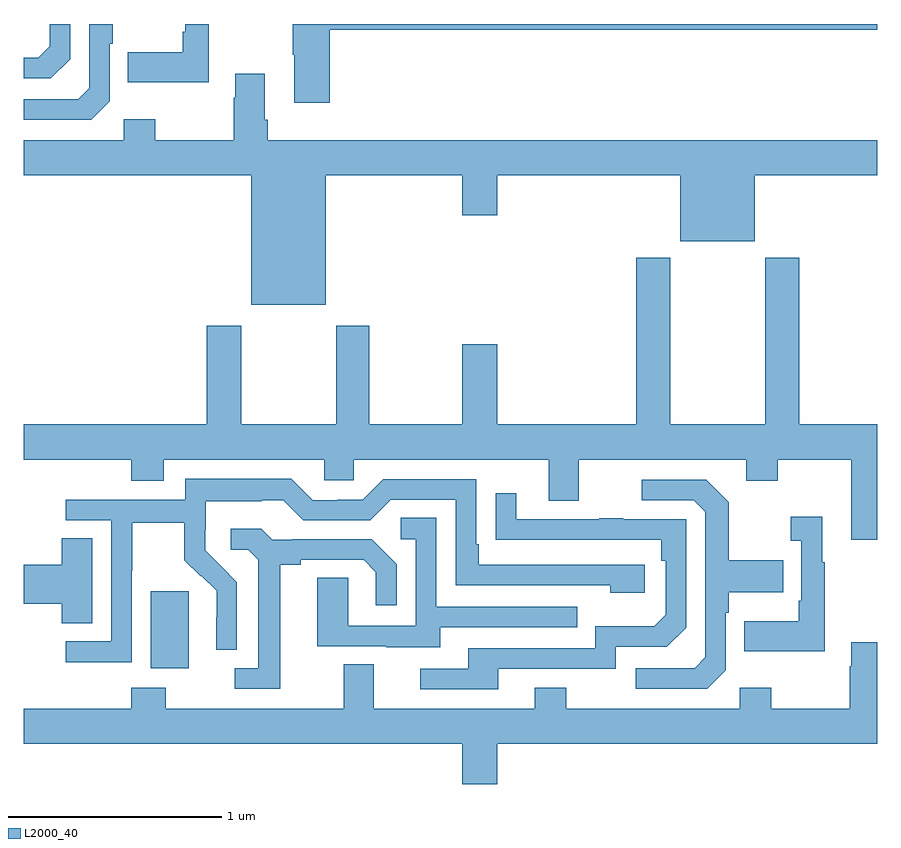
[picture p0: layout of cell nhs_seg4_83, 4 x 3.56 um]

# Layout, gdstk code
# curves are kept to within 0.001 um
import gdstk
lib = gdstk.Library(unit=1e-6, precision=1e-09)
def R(c, l, rs):  # rectangles x0, y0, x1, y1
    for r in rs: c.add(gdstk.rectangle(r[:2], r[2:], *l))
def P(c, l, *ps):  # polygons
    for p in ps: c.add(gdstk.Polygon(p, *l))
L2000_40 = (2000, 40)

nhs_seg4_83 = lib.new_cell('nhs_seg4_83')
R(nhs_seg4_83, L2000_40, [(115.595,755.882,115.774,756.243)])
P(nhs_seg4_83, L2000_40, [(115.404,758.538),(115.404,758.807),(115.417,758.807),(115.417,758.9),(115.308,758.9),(115.308,758.598),(115.257,758.547),(115,758.547),(115,758.451),(115.317,758.451)],
  [(115.867,758.9),(115.758,758.9),(115.758,758.863),(115.746,758.863),(115.746,758.767),(115.489,758.767),(115.489,758.627),(115.867,758.627)],
  [(115.218,758.736),(115.218,758.9),(115.122,758.9),(115.122,758.796),(115.069,758.743),(115,758.743),(115,758.646),(115.128,758.646)],
  [(116.435,758.872),(119,758.872),(119,758.9),(116.26,758.9),(116.26,758.755),(116.267,758.755),(116.267,758.532),(116.435,758.532)],
  [(116.416,758.192),(117.056,758.192),(117.056,758.004),(117.22,758.004),(117.22,758.192),(118.076,758.192),(118.076,757.883),(118.426,757.883),(118.426,758.192),(119,758.192),(119,758.356),(116.144,758.356),(116.144,758.452),(116.131,758.452),(116.131,758.668),(115.991,758.668),(115.991,758.555),(115.984,758.555),(115.984,758.356),(115.617,758.356),(115.617,758.455),(115.47,758.455),(115.47,758.356),(115,758.356),(115,758.192),(116.066,758.192),(116.066,757.586),(116.416,757.586)],
  [(119,757.024),(118.634,757.024),(118.634,757.804),(118.474,757.804),(118.474,757.024),(118.029,757.024),(118.029,757.804),(117.869,757.804),(117.869,757.024),(117.22,757.024),(117.22,757.399),(117.056,757.399),(117.056,757.024),(116.619,757.024),(116.619,757.486),(116.464,757.486),(116.464,757.024),(116.019,757.024),(116.019,757.486),(115.859,757.486),(115.859,757.024),(115,757.024),(115,756.86),(115.505,756.86),(115.505,756.761),(115.657,756.761),(115.657,756.86),(116.409,756.86),(116.409,756.762),(116.547,756.762),(116.547,756.86),(117.461,756.86),(117.461,756.666),(117.601,756.666),(117.601,756.86),(118.385,756.86),(118.385,756.761),(118.533,756.761),(118.533,756.86),(118.877,756.86),(118.877,756.483),(119,756.483)],
  [(115.506,756.34),(115.509,756.34),(115.509,756.564),(115.753,756.564),(115.753,756.389),(115.83,756.312),(115.833,756.315),(115.904,756.245),(115.904,756.122),(115.902,756.122),(115.902,755.968),(115.998,755.968),(115.998,756.286),(115.852,756.434),(115.852,756.531),(115.854,756.531),(115.854,756.665),(116.117,756.665),(116.117,756.669),(116.217,756.669),(116.31,756.576),(116.625,756.576),(116.721,756.672),(117.024,756.672),(117.024,756.27),(117.749,756.27),(117.749,756.236),(117.91,756.236),(117.91,756.366),(117.133,756.366),(117.133,756.463),(117.12,756.463),(117.12,756.768),(116.685,756.768),(116.589,756.672),(116.471,756.672),(116.471,756.669),(116.355,756.669),(116.255,756.769),(115.758,756.769),(115.758,756.672),(115.197,756.672),(115.197,756.576),(115.41,756.576),(115.41,756.009),(115.197,756.009),(115.197,755.911),(115.506,755.911)],
  [(118.29,755.874),(118.29,756.143),(118.303,756.143),(118.303,756.239),(118.559,756.239),(118.559,756.387),(118.303,756.387),(118.303,756.659),(118.197,756.765),(117.897,756.765),(117.897,756.669),(118.14,756.669),(118.194,756.615),(118.194,755.934),(118.143,755.883),(117.867,755.883),(117.867,755.787),(118.203,755.787)],
  [(117.223,755.88),(117.774,755.88),(117.774,755.982),(118.014,755.982),(118.104,756.072),(118.104,756.579),(117.809,756.579),(117.809,756.584),(117.697,756.584),(117.697,756.579),(117.307,756.579),(117.307,756.703),(117.211,756.703),(117.211,756.484),(117.988,756.483),(117.988,756.386),(118.008,756.386),(118.008,756.132),(117.955,756.079),(117.678,756.079),(117.678,755.976),(117.083,755.976),(117.083,755.88),(116.859,755.88),(116.859,755.784),(117.223,755.784)],
  [(118.753,756.379),(118.741,756.379),(118.741,756.592),(118.593,756.592),(118.593,756.479),(118.644,756.479),(118.644,756.199),(118.632,756.199),(118.632,756.103),(118.375,756.103),(118.375,755.963),(118.753,755.963)],
  [(116.953,756.075),(117.593,756.075),(117.593,756.171),(116.934,756.171),(116.934,756.587),(116.766,756.587),(116.766,756.486),(116.838,756.486),(116.838,756.081),(116.52,756.081),(116.52,756.305),(116.375,756.305),(116.375,755.985),(116.699,755.985),(116.699,755.981),(116.953,755.981)],
  [(116.203,756.368),(116.299,756.368),(116.299,756.39),(116.594,756.39),(116.651,756.333),(116.651,756.177),(116.748,756.177),(116.748,756.37),(116.632,756.486),(116.26,756.486),(116.26,756.483),(116.166,756.483),(116.114,756.535),(115.971,756.535),(115.971,756.438),(116.052,756.438),(116.099,756.391),(116.099,755.883),(115.989,755.883),(115.989,755.787),(116.203,755.787)],
  [(115.321,756.491),(115.178,756.491),(115.178,756.368),(115,756.368),(115,756.185),(115.178,756.185),(115.178,756.094),(115.321,756.094)],
  [(117.22,755.528),(119,755.528),(119,756.004),(118.877,756.004),(118.877,755.891),(118.87,755.891),(118.87,755.692),(118.503,755.692),(118.503,755.791),(118.356,755.791),(118.356,755.692),(117.543,755.692),(117.543,755.791),(117.395,755.791),(117.395,755.692),(116.641,755.692),(116.641,755.9),(116.501,755.9),(116.501,755.692),(115.665,755.692),(115.665,755.791),(115.505,755.791),(115.505,755.692),(115,755.692),(115,755.528),(117.056,755.528),(117.056,755.34),(117.22,755.34)])

lib.write_gds('nhs_seg4_83.gds')
